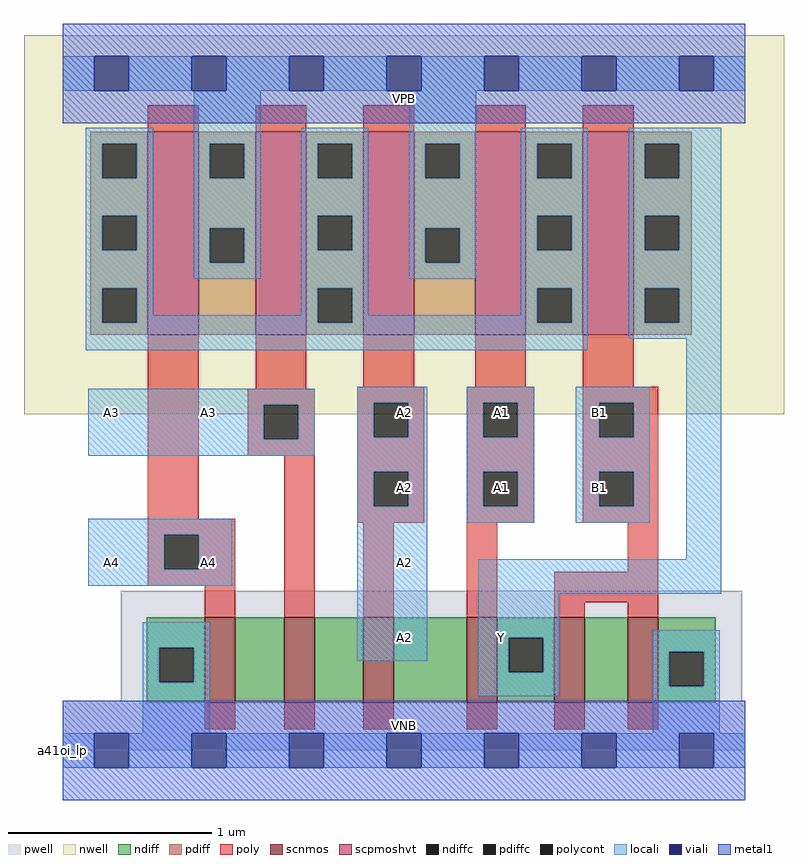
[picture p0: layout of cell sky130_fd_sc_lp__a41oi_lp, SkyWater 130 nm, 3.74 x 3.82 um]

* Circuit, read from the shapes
.subckt sky130_fd_sc_lp__a41oi_lp A1 A2 A3 A4 B1 VGND VNB VPB VPWR Y
XM1 n1 A4 VGND VNB sky130_fd_pr__nfet_01v8 w=0.42 l=0.15
XM2 n2 A3 n1 VNB sky130_fd_pr__nfet_01v8 w=0.42 l=0.15
XM3 n3 A2 n2 VNB sky130_fd_pr__nfet_01v8 w=0.42 l=0.15
XM4 Y A1 n3 VNB sky130_fd_pr__nfet_01v8 w=0.42 l=0.15
XM5 n4 B1 Y VNB sky130_fd_pr__nfet_01v8 w=0.42 l=0.15
XM6 VGND B1 n4 VNB sky130_fd_pr__nfet_01v8 w=0.42 l=0.15
XM7 VPWR A4 n5 VPB sky130_fd_pr__pfet_01v8_hvt w=1 l=0.25
XM8 n5 A3 VPWR VPB sky130_fd_pr__pfet_01v8_hvt w=1 l=0.25
XM9 VPWR A2 n5 VPB sky130_fd_pr__pfet_01v8_hvt w=1 l=0.25
XM10 n5 A1 VPWR VPB sky130_fd_pr__pfet_01v8_hvt w=1 l=0.25
XM11 Y B1 n5 VPB sky130_fd_pr__pfet_01v8_hvt w=1 l=0.25
.ends

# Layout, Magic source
magic
tech sky130A
magscale 1 2
<< nwell >>
rect -38 331 710 704
<< pwell >>
rect 57 49 669 157
rect 0 0 672 49
<< scnmos >>
rect 140 47 170 131
rect 218 47 248 131
rect 296 47 326 131
rect 398 47 428 131
rect 484 47 514 131
rect 556 47 586 131
<< scpmoshvt >>
rect 84 409 134 609
rect 190 409 240 609
rect 296 409 346 609
rect 406 409 456 609
rect 512 409 562 609
<< ndiff >>
rect 83 101 140 131
rect 83 67 95 101
rect 129 67 140 101
rect 83 47 140 67
rect 170 47 218 131
rect 248 47 296 131
rect 326 47 398 131
rect 428 111 484 131
rect 428 77 439 111
rect 473 77 484 111
rect 428 47 484 77
rect 514 47 556 131
rect 586 97 643 131
rect 586 63 597 97
rect 631 63 643 97
rect 586 47 643 63
<< pdiff >>
rect 27 597 84 609
rect 27 563 39 597
rect 73 563 84 597
rect 27 526 84 563
rect 27 492 39 526
rect 73 492 84 526
rect 27 455 84 492
rect 27 421 39 455
rect 73 421 84 455
rect 27 409 84 421
rect 134 597 190 609
rect 134 563 145 597
rect 179 563 190 597
rect 134 514 190 563
rect 134 480 145 514
rect 179 480 190 514
rect 134 409 190 480
rect 240 597 296 609
rect 240 563 251 597
rect 285 563 296 597
rect 240 526 296 563
rect 240 492 251 526
rect 285 492 296 526
rect 240 455 296 492
rect 240 421 251 455
rect 285 421 296 455
rect 240 409 296 421
rect 346 597 406 609
rect 346 563 357 597
rect 391 563 406 597
rect 346 514 406 563
rect 346 480 357 514
rect 391 480 406 514
rect 346 409 406 480
rect 456 597 512 609
rect 456 563 467 597
rect 501 563 512 597
rect 456 526 512 563
rect 456 492 467 526
rect 501 492 512 526
rect 456 455 512 492
rect 456 421 467 455
rect 501 421 512 455
rect 456 409 512 421
rect 562 597 619 609
rect 562 563 573 597
rect 607 563 619 597
rect 562 526 619 563
rect 562 492 573 526
rect 607 492 619 526
rect 562 455 619 492
rect 562 421 573 455
rect 607 421 619 455
rect 562 409 619 421
<< ndiffc >>
rect 95 67 129 101
rect 439 77 473 111
rect 597 63 631 97
<< pdiffc >>
rect 39 563 73 597
rect 39 492 73 526
rect 39 421 73 455
rect 145 563 179 597
rect 145 480 179 514
rect 251 563 285 597
rect 251 492 285 526
rect 251 421 285 455
rect 357 563 391 597
rect 357 480 391 514
rect 467 563 501 597
rect 467 492 501 526
rect 467 421 501 455
rect 573 563 607 597
rect 573 492 607 526
rect 573 421 607 455
<< poly >>
rect 84 609 134 635
rect 190 609 240 635
rect 296 609 346 635
rect 406 609 456 635
rect 512 609 562 635
rect 84 228 134 409
rect 190 356 240 409
rect 296 358 346 409
rect 406 358 456 409
rect 512 358 562 409
rect 182 340 248 356
rect 182 306 198 340
rect 232 306 248 340
rect 182 290 248 306
rect 84 212 170 228
rect 84 178 100 212
rect 134 178 170 212
rect 84 162 170 178
rect 140 131 170 162
rect 218 131 248 290
rect 290 342 356 358
rect 290 308 306 342
rect 340 308 356 342
rect 290 274 356 308
rect 290 240 306 274
rect 340 240 356 274
rect 290 224 356 240
rect 398 342 464 358
rect 398 308 414 342
rect 448 308 464 342
rect 398 274 464 308
rect 398 240 414 274
rect 448 240 464 274
rect 398 224 464 240
rect 512 342 586 358
rect 512 308 528 342
rect 562 308 586 342
rect 512 274 586 308
rect 512 240 528 274
rect 562 240 586 274
rect 512 224 586 240
rect 296 131 326 224
rect 398 131 428 224
rect 556 176 586 224
rect 484 146 586 176
rect 484 131 514 146
rect 556 131 586 146
rect 140 21 170 47
rect 218 21 248 47
rect 296 21 326 47
rect 398 21 428 47
rect 484 21 514 47
rect 556 21 586 47
<< polycont >>
rect 198 306 232 340
rect 100 178 134 212
rect 306 308 340 342
rect 306 240 340 274
rect 414 308 448 342
rect 414 240 448 274
rect 528 308 562 342
rect 528 240 562 274
<< locali >>
rect 0 649 31 683
rect 65 649 127 683
rect 161 649 223 683
rect 257 649 319 683
rect 353 649 415 683
rect 449 649 511 683
rect 545 649 607 683
rect 641 649 672 683
rect 23 597 89 613
rect 23 563 39 597
rect 73 563 89 597
rect 23 526 89 563
rect 23 492 39 526
rect 73 492 89 526
rect 23 455 89 492
rect 129 597 195 649
rect 129 563 145 597
rect 179 563 195 597
rect 129 514 195 563
rect 129 480 145 514
rect 179 480 195 514
rect 129 464 195 480
rect 235 597 301 613
rect 235 563 251 597
rect 285 563 301 597
rect 235 526 301 563
rect 235 492 251 526
rect 285 492 301 526
rect 23 421 39 455
rect 73 428 89 455
rect 235 455 301 492
rect 341 597 407 649
rect 341 563 357 597
rect 391 563 407 597
rect 341 514 407 563
rect 341 480 357 514
rect 391 480 407 514
rect 341 464 407 480
rect 451 597 517 613
rect 451 563 467 597
rect 501 563 517 597
rect 451 526 517 563
rect 451 492 467 526
rect 501 492 517 526
rect 235 428 251 455
rect 73 421 251 428
rect 285 428 301 455
rect 451 455 517 492
rect 451 428 467 455
rect 285 421 467 428
rect 501 421 517 455
rect 23 394 517 421
rect 557 597 648 613
rect 557 563 573 597
rect 607 563 648 597
rect 557 526 648 563
rect 557 492 573 526
rect 607 492 648 526
rect 557 455 648 492
rect 557 421 573 455
rect 607 421 648 455
rect 557 405 648 421
rect 25 340 248 356
rect 25 306 198 340
rect 232 306 248 340
rect 25 290 248 306
rect 290 342 359 358
rect 290 308 306 342
rect 340 308 359 342
rect 290 274 359 308
rect 290 240 306 274
rect 340 240 359 274
rect 25 212 167 228
rect 25 178 100 212
rect 134 178 167 212
rect 25 162 167 178
rect 79 101 145 126
rect 79 67 95 101
rect 129 67 145 101
rect 290 88 359 240
rect 398 342 464 358
rect 398 308 414 342
rect 448 308 464 342
rect 398 274 464 308
rect 398 240 414 274
rect 448 240 464 274
rect 398 224 464 240
rect 505 342 578 358
rect 505 308 528 342
rect 562 308 578 342
rect 505 274 578 308
rect 505 240 528 274
rect 562 240 578 274
rect 505 224 578 240
rect 614 188 648 405
rect 409 154 648 188
rect 409 111 489 154
rect 79 17 145 67
rect 409 77 439 111
rect 473 77 489 111
rect 409 53 489 77
rect 581 97 647 118
rect 581 63 597 97
rect 631 63 647 97
rect 581 17 647 63
rect 0 -17 31 17
rect 65 -17 127 17
rect 161 -17 223 17
rect 257 -17 319 17
rect 353 -17 415 17
rect 449 -17 511 17
rect 545 -17 607 17
rect 641 -17 672 17
<< viali >>
rect 31 649 65 683
rect 127 649 161 683
rect 223 649 257 683
rect 319 649 353 683
rect 415 649 449 683
rect 511 649 545 683
rect 607 649 641 683
rect 31 -17 65 17
rect 127 -17 161 17
rect 223 -17 257 17
rect 319 -17 353 17
rect 415 -17 449 17
rect 511 -17 545 17
rect 607 -17 641 17
<< metal1 >>
rect 0 683 672 715
rect 0 649 31 683
rect 65 649 127 683
rect 161 649 223 683
rect 257 649 319 683
rect 353 649 415 683
rect 449 649 511 683
rect 545 649 607 683
rect 641 649 672 683
rect 0 617 672 649
rect 0 17 672 49
rect 0 -17 31 17
rect 65 -17 127 17
rect 161 -17 223 17
rect 257 -17 319 17
rect 353 -17 415 17
rect 449 -17 511 17
rect 545 -17 607 17
rect 641 -17 672 17
rect 0 -49 672 -17
<< labels >>
flabel pwell s 0 0 672 49 0 FreeSans 200 0 0 0 VNB
port 7 nsew ground bidirectional
flabel nwell s 0 617 672 666 0 FreeSans 200 0 0 0 VPB
port 8 nsew power bidirectional
rlabel comment s 0 0 0 0 4 a41oi_lp
flabel metal1 s 0 617 672 666 0 FreeSans 340 0 0 0 VPWR
port 9 nsew power bidirectional
flabel metal1 s 0 0 672 49 0 FreeSans 340 0 0 0 VGND
port 6 nsew ground bidirectional
flabel locali s 511 242 545 276 0 FreeSans 340 0 0 0 B1
port 5 nsew signal input
flabel locali s 511 316 545 350 0 FreeSans 340 0 0 0 B1
port 5 nsew signal input
flabel locali s 415 94 449 128 0 FreeSans 340 0 0 0 Y
port 10 nsew signal output
flabel locali s 31 168 65 202 0 FreeSans 340 0 0 0 A4
port 4 nsew signal input
flabel locali s 127 168 161 202 0 FreeSans 340 0 0 0 A4
port 4 nsew signal input
flabel locali s 31 316 65 350 0 FreeSans 340 0 0 0 A3
port 3 nsew signal input
flabel locali s 127 316 161 350 0 FreeSans 340 0 0 0 A3
port 3 nsew signal input
flabel locali s 319 94 353 128 0 FreeSans 340 0 0 0 A2
port 2 nsew signal input
flabel locali s 319 168 353 202 0 FreeSans 340 0 0 0 A2
port 2 nsew signal input
flabel locali s 319 242 353 276 0 FreeSans 340 0 0 0 A2
port 2 nsew signal input
flabel locali s 319 316 353 350 0 FreeSans 340 0 0 0 A2
port 2 nsew signal input
flabel locali s 415 242 449 276 0 FreeSans 340 0 0 0 A1
port 1 nsew signal input
flabel locali s 415 316 449 350 0 FreeSans 340 0 0 0 A1
port 1 nsew signal input
<< properties >>
string LEFsite unit
string LEFclass CORE
string FIXED_BBOX 0 0 672 666
string GDS_FILE $PDKPATH/libs.ref/sky130_fd_sc_lp/gds/sky130_fd_sc_lp.gds
string LEFsymmetry X Y R90
string GDS_END 1346408
string GDS_START 1339252
<< end >>
